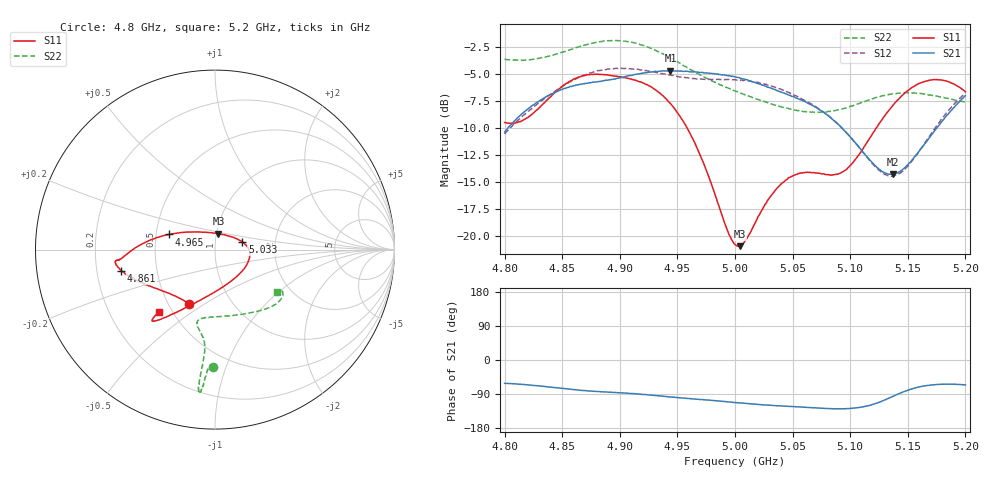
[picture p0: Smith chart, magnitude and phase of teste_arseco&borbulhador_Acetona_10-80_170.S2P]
! Network Analyzer HP8722D
! Hewlett-Packard
! Data name: Linha & Wilkinson
! Saver's name: Rodrigo Anjos
! Comments: Teste da utilização de aquisição
! continua pelo VNA HP8722D
! Time and date: 17/4/2025 15:46
!  Frequency  S11  S21  S12  S22
# HZ  S  MA R 50
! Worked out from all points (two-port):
!   401 points, 4.8 GHz to 5.2 GHz, reference 50 ohm
!   highest |S21| = -4.71 dB at 4.944 GHz (marker M1); lowest = -14.3 dB at 5.137 GHz (marker M2)
!   |S21| within 3 dB of the highest: 4.827 GHz to 5.063 GHz (236.5 MHz wide, 4.78 % of centre); 5.193342 GHz to end of sweep
!   lowest |S11| = -20.9 dB at 5.004 GHz (marker M3), VSWR 1.20, Z = 51.1 + j9.08 ohm
!   |S11| at or under -10 dB: 4.958 GHz to 5.123 GHz (164.2 MHz wide, 3.26 % of centre)
!   |S22| runs from -8.6 to -1.9 dB; largest |S21 - S12| = 0.87
!   S11 on the Smith chart (normalised r, x): 4.8 GHz: 0.63, -0.43; 4.861 GHz: 0.31, -0.10; 4.965 GHz: 0.58, +0.11; 5.033 GHz: 1.35, +0.12; 5.2 GHz: 0.43, -0.38
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4.8e9  0.3353 -115.3  0.3031 -61.6  0.2973 -175.8  0.6566 -90.8
4.819e9  0.3512 -135.4  0.3827 -65.4  0.3714 -175.0  0.6524 -92.4
4.861e9  0.5349 -167.3  0.4961 -78.4  0.5305 -178.4  0.7384 -94.9
4.867e9  0.5486 -169.6  0.5041 -80.2  0.5487 -179.5  0.7574 -95.0
4.899e9  0.5456 -173.9  0.5375 -86.5  0.5952 174.1  0.7987 -96.4
4.934e9  0.4618 -179.7  0.5784 -94.9  0.5691 170.7  0.7093 -96.6
4.944e9  0.4101 175.8  0.5812 -97.5  0.5548 170.8  0.6648 -96.3
4.965e9  0.2709 161.9  0.575 -103.1  0.5348 172.8  0.5735 -95.8
4.993e9  0.1081 117.0  0.5529 -110.2  0.5295 175.2  0.4859 -98.4
5e9  0.09185 92.8  0.5446 -112.2  0.528 175.1  0.4695 -99.8
5.004e9  0.09015 77.8  0.5391 -113.2  0.527 175.1  0.4603 -100.5
5.033e9  0.1584 15.6  0.4789 -119.9  0.4905 173.7  0.4059 -103.5
5.048e9  0.1876 0.7  0.4475 -122.4  0.4582 173.2  0.3866 -99.7
5.067e9  0.197 -19.4  0.4032 -125.9  0.4061 172.8  0.3748 -89.4
5.085e9  0.1923 -47.9  0.345 -128.8  0.3462 173.3  0.3799 -75.7
5.096e9  0.2028 -70.0  0.3037 -128.6  0.3037 174.5  0.3914 -66.8
5.121e9  0.306 -108.9  0.2137 -116.1  0.2118 -170.9  0.4347 -49.6
5.134e9  0.3845 -119.2  0.1936 -100.2  0.1899 -153.3  0.4519 -43.1
5.137e9  0.4018 -120.9  0.1931 -96.3  0.1901 -148.4  0.4552 -41.8
5.149e9  0.4661 -126.0  0.2119 -80.7  0.2086 -130.6  0.4597 -37.5
5.17e9  0.5267 -130.8  0.291 -66.1  0.2962 -112.2  0.4489 -32.7
5.2e9  0.4649 -132.1  0.446 -65.8  0.4572 -107.9  0.4163 -34.3
